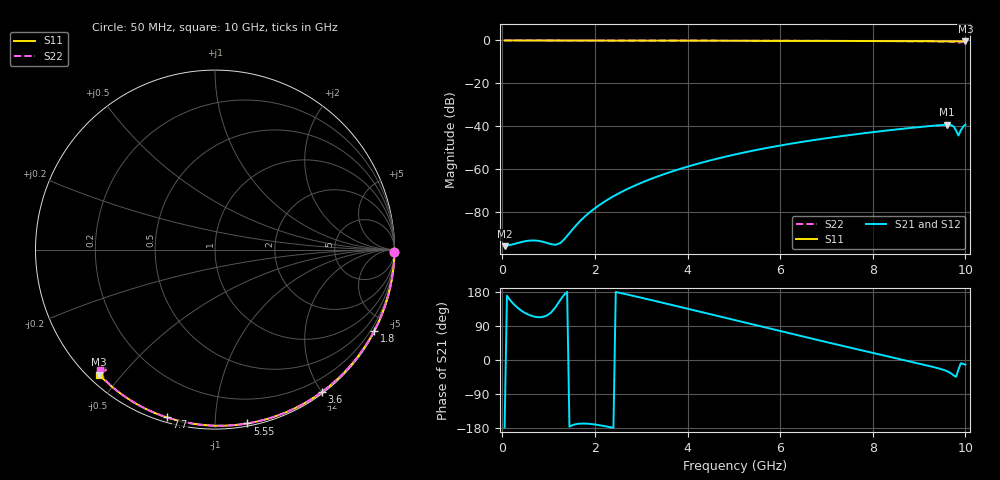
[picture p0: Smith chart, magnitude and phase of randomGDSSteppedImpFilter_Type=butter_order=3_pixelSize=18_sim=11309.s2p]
! freq	dB(S11)	phase(S11)	dB(S12)	phase(S12)
!  dB(S21)	phase(S21)	dB(S22)	phase(S22)
!S-par simulation data
#  GHz  S  DB  R 50
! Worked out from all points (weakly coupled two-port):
!   200 points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, 50 MHz to 10 GHz, reference 50 ohm
!   highest |S21| = -39.22 dB at 9.6 GHz (marker M1); lowest = -95.7 dB at 50 MHz (marker M2)
!   lowest |S11| = -0.4 dB at 10 GHz (marker M3), VSWR 38.97, Z = 1.53 - j21.8 ohm
!   |S11| at or under -10 dB: nowhere
!   |S22| runs from -1.0 to 0.0 dB; largest |S21 - S12| = 0
!   S11 on the Smith chart (normalised r, x): 50 MHz: open; 1.8 GHz: 0.04, -4.13; 3.6 GHz: 0.02, -2.00; 5.55 GHz: 0.02, -1.20; 7.7 GHz: 0.02, -0.75; 10 GHz: 0.03, -0.44
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0.05  -0.00 -0.8  -95.69 -178.1  -95.69 -178.1  -0.00 -0.8
0.9  -0.01 -13.7  -93.78 114.7  -93.78 114.7  -0.02 -13.7
1.75  -0.03 -26.5  -82.56 -167.6  -82.56 -167.6  -0.03 -26.3
1.8  -0.03 -27.2  -81.57 -167.8  -81.57 -167.8  -0.03 -27.1
1.9  -0.04 -28.7  -79.73 -168.7  -79.73 -168.7  -0.04 -28.5
2.25  -0.04 -33.8  -74.38 -175.4  -74.38 -175.4  -0.04 -33.7
2.65  -0.05 -39.6  -69.63 174.2  -69.63 174.2  -0.05 -39.5
3.4  -0.07 -50.4  -62.89 152.9  -62.89 152.9  -0.07 -50.2
3.6  -0.07 -53.2  -61.40 147.1  -61.40 147.1  -0.07 -53.0
4.3  -0.09 -62.8  -56.87 126.5  -56.87 126.5  -0.09 -62.6
5.05  -0.11 -72.9  -52.91 104.3  -52.91 104.3  -0.11 -72.6
5.55  -0.13 -79.4  -50.67 89.5  -50.67 89.5  -0.13 -79.1
6.7  -0.18 -93.9  -46.41 55.9  -46.41 55.9  -0.18 -93.7
7.7  -0.24 -106.1  -43.44 27.2  -43.44 27.2  -0.24 -105.9
8.35  -0.29 -113.7  -41.78 8.8  -41.78 8.8  -0.29 -113.8
9.1  -0.36 -122.5  -40.08 -12.4  -40.08 -12.4  -0.36 -123.0
9.6  -0.41 -128.2  -39.22 -29.4  -39.22 -29.4  -0.46 -130.1
9.7  -0.42 -129.4  -39.45 -36.2  -39.45 -36.2  -0.54 -131.9
9.75  -0.42 -129.9  -40.11 -41.2  -40.11 -41.2  -0.64 -132.9
9.85  -0.43 -131.1  -44.21 -25.2  -44.21 -25.2  -0.95 -132.7
9.95  -0.44 -132.2  -40.09 -9.8  -40.09 -9.8  -0.72 -132.7
10  -0.45 -132.8  -39.23 -12.7  -39.23 -12.7  -0.65 -133.6
